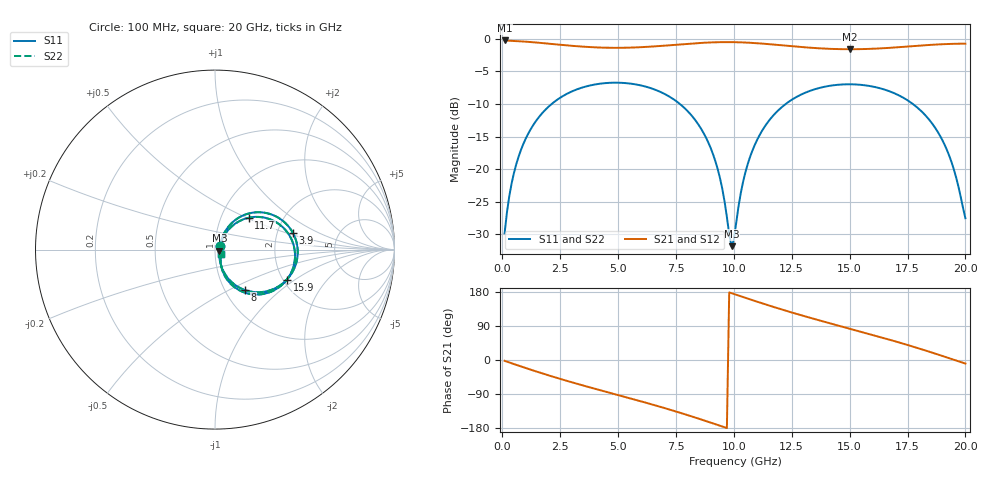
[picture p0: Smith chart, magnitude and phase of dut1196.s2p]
! Touchstone file exported from HFSS 2026.1.0
!  File:  C:/ffzhzh/LocalFiles/Ansys_Project_Files/temp_train_TSV_RDL_1196_1783317884_39728.aedt
!  Generated:  02:18:08 PM Jul  6, 2026
!  Design:  TSV_RDL
!  Project:  temp_train_TSV_RDL_1196_1783317884_39728
! Variables:
!  h_bsmrdl = 2.61um
!  h_ox = 20um
!  h_rdl = 5um
!  h_sub = 57.54um
!  h_tmrdl = 4.48um
!  h_tsv = 57.54um
!  h_via = 3um
!  l_bsmrdl = 727.72um
!  l_sub = 6594.15um
!  l_tmrdl = 964.4um
!  m_sub = 200um
!  pitch = 47.08um
!  r_tsv = 7.67um
!  s_tmrdl = 10um
!  w_bsmrdl = 21.75um
!  w_sub = 500um
!  w_tmrdl = 29.38um
!  x_tsv_center1 = 979.09um
!  x_tsv_center2 = 1728.56um
!  x_tsv_center3 = 2722.34um
!  x_tsv_center4 = 3471.81um
!  x_tsv_center5 = 4465.59um
!  x_tsv_center6 = 5215.06um
# GHz S MA R 50.000000
! Terminal data exported
! Port[1] = TM_RDL1_1_T1
! Port[2] = TM_RDL5_1_T1
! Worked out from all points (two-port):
!   200 points, 100 MHz to 20 GHz, reference 50 ohm
!   highest |S21| = -0.23 dB at 100 MHz (marker M1); lowest = -1.6 dB at 15 GHz (marker M2)
!   |S21| within 3 dB of the highest: start of sweep to end of sweep
!   lowest |S11| = -31.9 dB at 9.9 GHz (marker M3), VSWR 1.05, Z = 52.6 - j0.56 ohm
!   |S11| at or under -10 dB: start of sweep to 2.13 GHz; 7.67 GHz to 12.24 GHz (4.569 GHz wide, 45.9 % of centre); 17.73 GHz to end of sweep
!   |S22| runs from -31.6 to -6.7 dB; largest |S21 - S12| = 1.6e-14
!   S11 on the Smith chart (normalised r, x): 100 MHz: 1.05, +0.04; 3.9 GHz: 2.43, +0.57; 8 GHz: 1.23, -0.60; 11.7 GHz: 1.35, +0.51; 15.9 GHz: 2.10, -0.86; 20 GHz: 1.07, -0.05
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0.1  0.03211 35.0  0.9743 -2.2  0.9743 -2.2  0.03211 35.0
! Gamma 0 0 0 0
! Port Impedance 50 0 50 0
0.5  0.09272 60.4  0.9661 -10.7  0.9661 -10.7  0.09271 60.4
1.1  0.1842 57.0  0.9511 -23.0  0.9511 -23.0  0.1842 57.0
2.1  0.313 41.7  0.917 -42.4  0.917 -42.4  0.313 41.7
3.5  0.4257 18.7  0.8725 -67.5  0.8725 -67.5  0.4257 18.7
3.9  0.4434 12.3  0.8642 -74.3  0.8642 -74.3  0.4433 12.3
5.3  0.4582 -9.7  0.8563 -97.5  0.8563 -97.5  0.4582 -9.7
6.8  0.3938 -33.8  0.8829 -123.2  0.8829 -123.2  0.3938 -33.7
8  0.2792 -53.7  0.9179 -145.4  0.9179 -145.4  0.2792 -53.6
9.2  0.1153 -69.3  0.9436 -169.3  0.9436 -169.3  0.1154 -68.9
9.5  0.07061 -66.9  0.946 -175.4  0.946 -175.4  0.07086 -66.3
9.9  0.02551 -12.0  0.9459 176.3  0.9459 176.3  0.02642 -11.7
10.1  0.03846 38.8  0.9445 172.2  0.9445 172.2  0.03915 37.8
10.7  0.1239 56.4  0.935 160.0  0.935 160.0  0.1241 55.9
11.7  0.2576 43.6  0.9066 140.3  0.9066 140.3  0.2578 43.3
13.4  0.4055 16.2  0.8541 109.5  0.8541 109.5  0.4056 16.0
15  0.4484 -8.7  0.8339 82.7  0.8339 82.7  0.4485 -8.9
15.9  0.4339 -22.6  0.8398 67.7  0.8398 67.7  0.4339 -22.8
16.7  0.3974 -35.1  0.8543 54.0  0.8543 54.0  0.3974 -35.3
18.8  0.1939 -66.7  0.9077 14.8  0.9077 14.8  0.1938 -67.0
19.5  0.09956 -69.2  0.9182 0.7  0.9182 0.7  0.09933 -69.7
20  0.04181 -36.5  0.9202 -9.5  0.9202 -9.5  0.04115 -37.1
